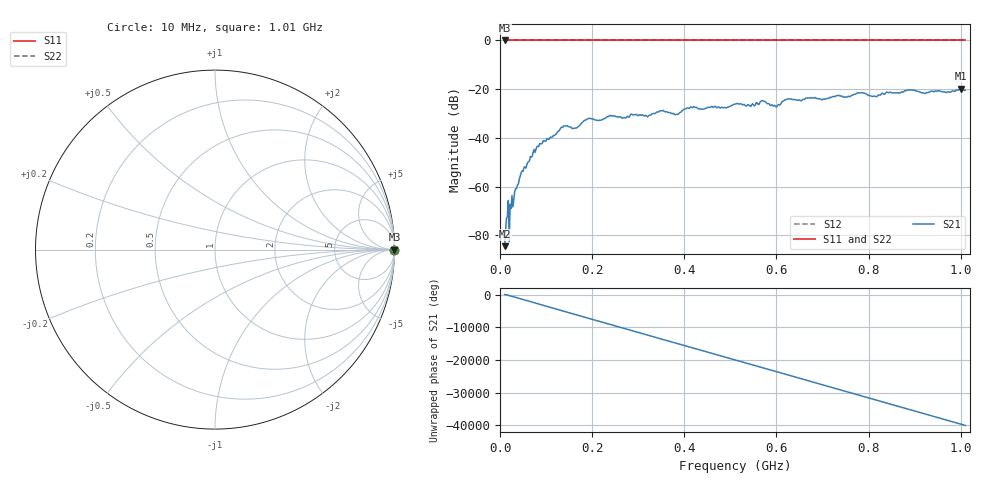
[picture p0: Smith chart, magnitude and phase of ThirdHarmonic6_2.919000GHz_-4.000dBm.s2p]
! 8/17/2025 8:07:00 AM
! C:\ANRITSUVNA\TEMP\TEMP.S2P
! CHANNEL.1
! TR.MEASUREMENT
! RAW.DATA
! RF.CORRECTION.OFF
! AVERAGING.OFF
! IF.BANDWIDTH: 5KHZ
! SWEEPTYPE:  FREQ.SWEEP(Linear)
! Reference Plane Port Info
! PORT:  PORT1  PORT2
! DISTANCE:  0  m  0  m
! TIME:  0  s  0  s
! PHASE.OFFSET:  0  deg.  0  deg.
! LOSS:  0  dB  0  dB
! REF.LOSS:  0  dB  0  dB
! REF.FREQ:  0  Hz  0  Hz
! Power Info
! POWER:  -20  dBm  -20  dBm
! EFF.POWER:  -20  dBm  -20  dBm
! SOURCE.ATTEN:  0  dB  0  dB
! TEST.ATTEN:  0  dB  0  dB
# GHZ S RI R 50.0
! FREQ.GHZ  S11RE  S11IM  S21RE  S21IM  S12RE  S12IM  S22RE  S22IM
!; PortSelection: Port_12
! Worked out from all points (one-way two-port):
!   501 points, 10 MHz to 1.01 GHz, reference 50 ohm
!   highest |S21| = -19.86 dB at 1 GHz (marker M1); lowest = -84.5 dB at 10 MHz (marker M2)
!   lowest |S11| = 0.0 dB at 10 MHz (marker M3)
!   |S11| at or under -10 dB: nowhere
!   |S22| runs from 0.0 to 0.0 dB; largest |S21 - S12| = 1.1
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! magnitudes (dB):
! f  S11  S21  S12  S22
! 10 MHz  0.0  -84.5  0.0  0.0
! 14 MHz  0.0  -73.2  0.0  0.0
! 22 MHz  0.0  -67.3  0.0  0.0
! 24 MHz  0.0  -69.0  0.0  0.0
! 26 MHz  0.0  -63.7  0.0  0.0
! 46 MHz  0.0  -54.2  0.0  0.0
! 76 MHz  0.0  -46.0  0.0  0.0
! 136 MHz  0.0  -35.7  0.0  0.0
! 164 MHz  0.0  -35.9  0.0  0.0
! 178 MHz  0.0  -33.8  0.0  0.0
! 194 MHz  0.0  -32.0  0.0  0.0
! 344 MHz  0.0  -29.4  0.0  0.0
! 384 MHz  0.0  -30.4  0.0  0.0
! 416 MHz  0.0  -27.5  0.0  0.0
! 510 MHz  0.0  -26.1  0.0  0.0
! 570 MHz  0.0  -24.7  0.0  0.0
! 598 MHz  0.0  -27.1  0.0  0.0
! 622 MHz  0.0  -24.2  0.0  0.0
! 678 MHz  0.0  -23.6  0.0  0.0
! 844 MHz  0.0  -21.5  0.0  0.0
! 1 GHz  0.0  -19.9  0.0  0.0
! 1.01 GHz  0.0  -20.4  0.0  0.0
